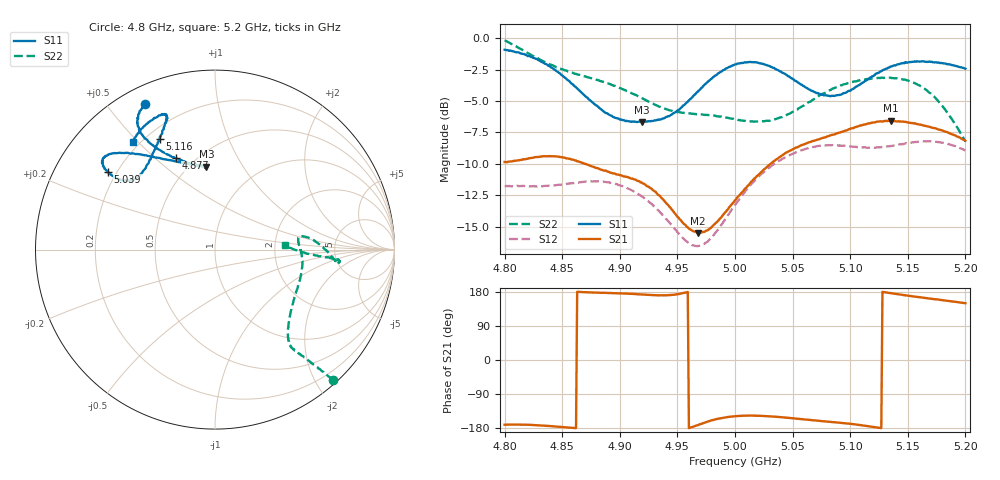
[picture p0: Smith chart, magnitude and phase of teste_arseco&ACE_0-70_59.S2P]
! Network Analyzer HP8722D
! Hewlett-Packard
! Data name: Linha & Wilkinson
! Saver's name: Rodrigo Anjos
! Comments: Teste da utilização de aquisição
! continua pelo VNA HP8722D
! Time and date: 8/5/2025 13:15
!  Frequency  S11  S21  S12  S22
# HZ  S  MA R 50
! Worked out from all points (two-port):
!   401 points, 4.8 GHz to 5.2 GHz, reference 50 ohm
!   highest |S21| = -6.56 dB at 5.135 GHz (marker M1); lowest = -15.5 dB at 4.968 GHz (marker M2)
!   |S21| within 3 dB of the highest: 4.821 GHz to 4.854 GHz (33.03 MHz wide, 0.683 % of centre); 5.037 GHz to end of sweep
!   lowest |S11| = -6.7 dB at 4.919 GHz (marker M3), VSWR 2.73, Z = 29.9 + j35.2 ohm
!   |S11| at or under -10 dB: nowhere
!   |S22| runs from -8.2 to -0.2 dB; largest |S21 - S12| = 0.83
!   S11 on the Smith chart (normalised r, x): 4.8 GHz: 0.07, +0.63; 4.877 GHz: 0.40, +0.58; 5.039 GHz: 0.17, +0.32; 5.116 GHz: 0.25, +0.59; 5.2 GHz: 0.17, +0.48
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4.8e9  0.9006 115.6  0.3218 -170.8  0.2583 -86.2  0.9803 -47.7
4.819e9  0.8567 120.0  0.3312 -170.9  0.2576 -82.0  0.8792 -49.0
4.837e9  0.7848 122.4  0.339 -174.0  0.2586 -76.1  0.7968 -50.0
4.867e9  0.6066 117.4  0.3195 179.2  0.2675 -67.7  0.7111 -51.7
4.877e9  0.5524 113.1  0.3079 177.9  0.2692 -66.7  0.6891 -52.0
4.901e9  0.4751 100.2  0.2847 176.0  0.2587 -67.4  0.6318 -50.0
4.919e9  0.4637 95.9  0.2665 173.1  0.2346 -69.3  0.5776 -44.7
4.934e9  0.4734 99.6  0.2372 170.5  0.2055 -69.8  0.5345 -36.9
4.95e9  0.5153 110.2  0.1948 173.3  0.1693 -65.2  0.5082 -26.4
4.968e9  0.615 123.2  0.1679 -171.6  0.149 -47.9  0.4984 -15.1
4.98e9  0.6917 129.7  0.1778 -159.0  0.1615 -34.3  0.4933 -9.0
5e9  0.787 137.2  0.2264 -148.4  0.2174 -21.4  0.4752 -0.1
5.018e9  0.8021 141.4  0.2792 -146.9  0.2743 -18.7  0.4665 5.8
5.039e9  0.7383 144.0  0.337 -150.6  0.3261 -18.9  0.4834 8.8
5.067e9  0.6175 141.7  0.3898 -158.7  0.369 -21.2  0.5671 4.2
5.088e9  0.5931 132.8  0.4179 -164.7  0.3745 -24.4  0.6382 -2.4
5.116e9  0.6886 116.6  0.4579 -175.0  0.3669 -27.4  0.6879 -6.0
5.134e9  0.7643 110.7  0.4683 177.0  0.3716 -29.4  0.697 -5.3
5.135e9  0.7725 110.7  0.4699 176.5  0.3727 -29.5  0.6969 -5.2
5.162e9  0.8101 112.6  0.4519 165.0  0.3887 -36.2  0.6418 -4.2
5.18e9  0.7966 118.8  0.4299 158.1  0.3843 -41.8  0.538 -2.9
5.2e9  0.7567 127.3  0.3909 149.8  0.3578 -47.2  0.3886 3.4
